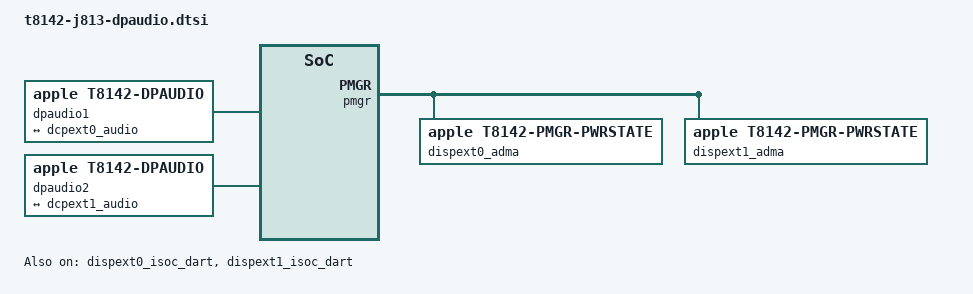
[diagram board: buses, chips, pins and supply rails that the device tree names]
// SPDX-License-Identifier: GPL-2.0+ OR MIT
/*
 * DisplayPort audio of the T8142 MacBook Airs' external displays, as macOS
 * 27.2 has it on a J815: each external display engine feeds its DisplayPort
 * audio from its own ADMAC, one TX channel (macOS AudioDMAController
 * "DAX0TX"), behind its isochronous DART (mapper-dispextN-dpa, stream 30),
 * all in DISPEXTn_ADMA (parent DISPEXTn_SYS, which the running display
 * processor keeps up). dp-audio1 belongs to dcpext0 (front port),
 * dp-audio2 to dcpext1 (rear port); dp-audio0 is disp0's, whose panel has
 * no audio sink, and stays off. This is the T6050 (J714s) design with
 * T8142's addresses: /arm-io offsets plus 0x2_1000_0000, interrupts and
 * PMGR states from the J815AP ADT; the J813AP 27.0 ADT has the same nodes.
 *
 * The boot loader copies each ADMAC control block's ADT tunables
 * (admac-dispextN-ced-ssw ced-tunables, ssw-tunables) into the node it finds
 * by the admac-dispextN-control alias. The DCP side starts unless
 * appledrm.hdmi_audio=0, and only for a processor the boot loader handed
 * over.
 */

/ {
	aliases {
		admac-dispext0-control = &admac_dispext0_ced_ssw;
		admac-dispext1-control = &admac_dispext1_ced_ssw;
	};

	dpaudio1: audio-controller-1 {
		compatible = "apple,t8142-dpaudio", "apple,dpaudio";
		dmas = <&admac_dispext0 0>;
		dma-names = "tx";
		power-domains = <&ps_dispext0_adma>;
		status = "okay";

		ports {
			#address-cells = <1>;
			#size-cells = <0>;

			port@0 {
				reg = <0>;
				dpaudio1_dcpext0: endpoint {
					remote-endpoint = <&dcpext0_audio>;
				};
			};
		};
	};

	dpaudio2: audio-controller-2 {
		compatible = "apple,t8142-dpaudio", "apple,dpaudio";
		dmas = <&admac_dispext1 0>;
		dma-names = "tx";
		power-domains = <&ps_dispext1_adma>;
		status = "okay";

		ports {
			#address-cells = <1>;
			#size-cells = <0>;

			port@0 {
				reg = <0>;
				dpaudio2_dcpext1: endpoint {
					remote-endpoint = <&dcpext1_audio>;
				};
			};
		};
	};
};

&pmgr {
	/* ADT pmgr DISPEXT0_ADMA (id 112), parent DISPEXT0_SYS */
	ps_dispext0_adma: power-controller@420 {
		compatible = "apple,t8142-pmgr-pwrstate", "apple,t8103-pmgr-pwrstate";
		reg = <0x420 4>;
		#power-domain-cells = <0>;
		#reset-cells = <0>;
		label = "dispext0_adma";
	};

	/* ADT pmgr DISPEXT1_ADMA (id 98), parent DISPEXT1_SYS */
	ps_dispext1_adma: power-controller@3b0 {
		compatible = "apple,t8142-pmgr-pwrstate", "apple,t8103-pmgr-pwrstate";
		reg = <0x3b0 4>;
		#power-domain-cells = <0>;
		#reset-cells = <0>;
		label = "dispext1_adma";
	};
};

&{/soc} {
	/*
	 * Its window is the isochronous DART's ADT vm-base and vm-size (1 TiB,
	 * 64 GiB), as on T6050.
	 */
	admac_dispext0: dma-controller@506140000 {
		compatible = "apple,t8142-display-admac", "apple,t6050-display-admac";
		reg = <0x5 0x06140000 0x0 0x24000>;
		dma-channels = <1>;
		interrupts-extended = <&aic AIC_IRQ 894 IRQ_TYPE_LEVEL_HIGH>, <0>, <0>, <0>;
		iommus = <&dispext0_isoc_dart 30>;
		#dma-cells = <1>;
		power-domains = <&ps_dispext0_adma>;
		apple,dma-range = /bits/ 64 <0x10000000000 0x1000000000>;
		apple,admac-control = <&admac_dispext0_ced_ssw>;
	};

	admac_dispext0_ced_ssw: dma-control@5062f4000 {
		compatible = "apple,t8142-admac-control", "apple,admac-control";
		reg = <0x5 0x062f4000 0x0 0x4000>,
		      <0x5 0x061a0000 0x0 0x4000>;
		interrupts = <AIC_IRQ 896 IRQ_TYPE_LEVEL_HIGH>;
	};

	admac_dispext1: dma-controller@3aa140000 {
		compatible = "apple,t8142-display-admac", "apple,t6050-display-admac";
		reg = <0x3 0xaa140000 0x0 0x24000>;
		dma-channels = <1>;
		interrupts-extended = <&aic AIC_IRQ 969 IRQ_TYPE_LEVEL_HIGH>, <0>, <0>, <0>;
		iommus = <&dispext1_isoc_dart 30>;
		#dma-cells = <1>;
		power-domains = <&ps_dispext1_adma>;
		apple,dma-range = /bits/ 64 <0x10000000000 0x1000000000>;
		apple,admac-control = <&admac_dispext1_ced_ssw>;
	};

	admac_dispext1_ced_ssw: dma-control@3aa2f4000 {
		compatible = "apple,t8142-admac-control", "apple,admac-control";
		reg = <0x3 0xaa2f4000 0x0 0x4000>,
		      <0x3 0xaa1a0000 0x0 0x4000>;
		interrupts = <AIC_IRQ 971 IRQ_TYPE_LEVEL_HIGH>;
	};
};

&dispext0_isoc_dart {
	power-domains = <&ps_dispext0_adma>;
	status = "okay";
};

&dispext1_isoc_dart {
	power-domains = <&ps_dispext1_adma>;
	status = "okay";
};

&dcpext0 {
	ports {
		#address-cells = <1>;
		#size-cells = <0>;

		port@0 {
			reg = <0>;
			dcpext0_audio: endpoint {
				remote-endpoint = <&dpaudio1_dcpext0>;
			};
		};
	};
};

&dcpext1 {
	ports {
		#address-cells = <1>;
		#size-cells = <0>;

		port@0 {
			reg = <0>;
			dcpext1_audio: endpoint {
				remote-endpoint = <&dpaudio2_dcpext1>;
			};
		};
	};
};
